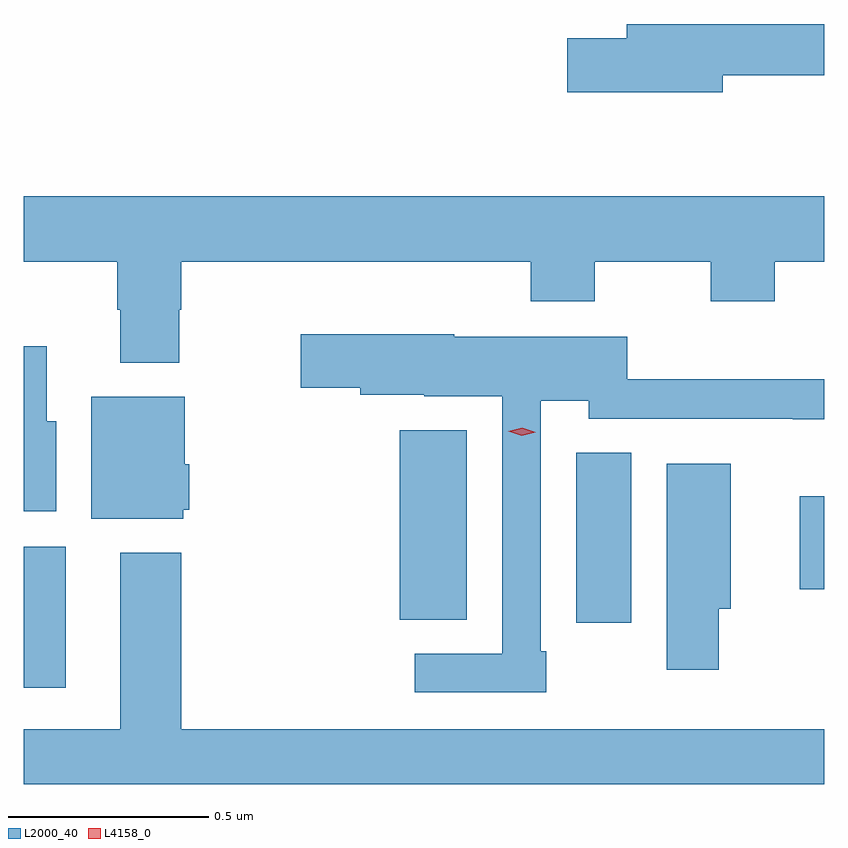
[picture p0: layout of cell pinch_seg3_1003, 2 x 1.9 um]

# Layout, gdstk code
import gdstk
lib = gdstk.Library(unit=1e-6, precision=1e-09)
def R(c, l, rs):  # rectangles x0, y0, x1, y1
    for r in rs: c.add(gdstk.rectangle(r[:2], r[2:], *l))
def P(c, l, *ps):  # polygons
    for p in ps: c.add(gdstk.Polygon(p, *l))
L2000_40 = (2000, 40)
L4158_0 = (4158, 0)

pinch_seg3_1003 = lib.new_cell('pinch_seg3_1003')
R(pinch_seg3_1003, L2000_40, [(417.058,714.504,417.163,714.856), (418.439,714.666,418.576,715.091), (417.998,714.673,418.165,715.147), (418.997,714.749,419.058,714.982)])
P(pinch_seg3_1003, L2000_40, [(418.804,716.034),(419.058,716.034),(419.058,716.162),(418.565,716.162),(418.565,716.126),(418.416,716.126),(418.416,715.991),(418.804,715.991)],
  [(417.447,715.448),(417.452,715.448),(417.452,715.568),(418.325,715.568),(418.325,715.469),(418.485,715.469),(418.485,715.568),(418.774,715.568),(418.774,715.469),(418.934,715.469),(418.934,715.568),(419.058,715.568),(419.058,715.732),(417.058,715.732),(417.058,715.568),(417.292,715.568),(417.292,715.448),(417.299,715.448),(417.299,715.316),(417.447,715.316)],
  [(418.363,714.595),(418.35,714.595),(418.35,715.22),(418.47,715.22),(418.47,715.176),(418.979,715.176),(418.979,715.175),(419.058,715.175),(419.058,715.274),(418.566,715.274),(418.566,715.381),(418.134,715.381),(418.134,715.387),(417.75,715.387),(417.75,715.253),(417.899,715.253),(417.899,715.235),(418.059,715.235),(418.059,715.232),(418.254,715.232),(418.254,714.588),(418.035,714.588),(418.035,714.492),(418.363,714.492)],
  [(417.139,715.17),(417.115,715.17),(417.115,715.357),(417.058,715.357),(417.058,714.944),(417.139,714.944)],
  [(417.456,714.948),(417.472,714.948),(417.472,715.062),(417.46,715.062),(417.46,715.231),(417.227,715.231),(417.227,714.926),(417.456,714.926)],
  [(418.794,714.701),(418.825,714.701),(418.825,715.063),(418.664,715.063),(418.664,714.549),(418.794,714.549)],
  [(419.058,714.4),(417.452,714.4),(417.452,714.841),(417.299,714.841),(417.299,714.4),(417.058,714.4),(417.058,714.263),(419.058,714.263)])
P(pinch_seg3_1003, L4158_0, [(418.302,715.133),(418.268,715.144),(418.267,715.144),(418.268,715.144),(418.303,715.153),(418.337,715.142),(418.337,715.142),(418.337,715.142)])

lib.write_gds('pinch_seg3_1003.gds')
